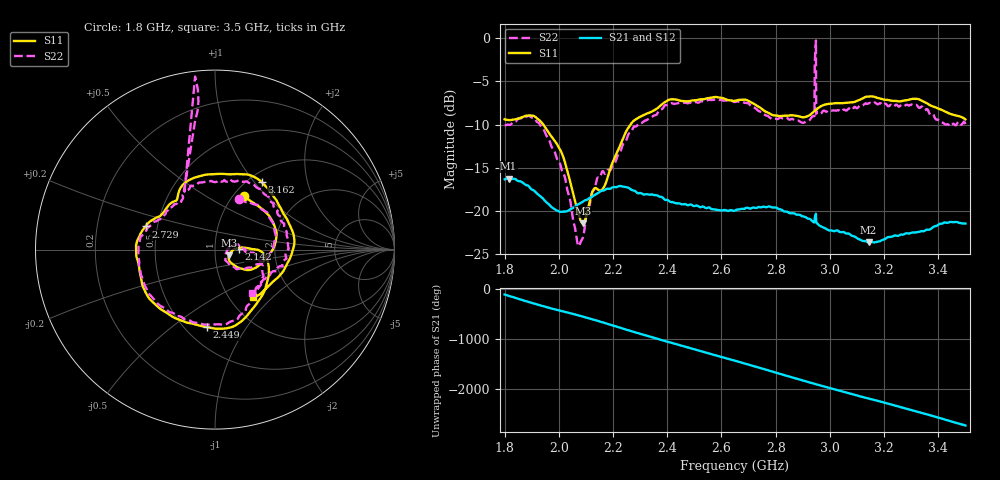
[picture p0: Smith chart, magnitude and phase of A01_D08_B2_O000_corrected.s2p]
! Created with skrf 1.9.0 (http://scikit-rf.org).
# Hz S RI R 50.0
!freq ReS11 ImS11 ReS21 ImS21 ReS12 ImS12 ReS22 ImS22
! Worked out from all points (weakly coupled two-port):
!   1601 points, 1.8 GHz to 3.5 GHz, reference 50 ohm
!   highest |S21| = -16.26 dB at 1.815 GHz (marker M1); lowest = -23.7 dB at 3.143 GHz (marker M2)
!   lowest |S11| = -21.5 dB at 2.089 GHz (marker M3), VSWR 1.18, Z = 58.4 - j3.68 ohm
!   |S11| at or under -10 dB: 1.942 GHz to 2.264 GHz (322 MHz wide, 15.3 % of centre)
!   |S22| runs from -24.1 to -0.3 dB; largest |S21 - S12| = 0.0031
!   S11 on the Smith chart (normalised r, x): 1.8 GHz: 1.12, +0.75; 2.142 GHz: 1.31, +0.01; 2.449 GHz: 0.63, -0.67; 2.729 GHz: 0.43, +0.13; 3.162 GHz: 1.14, +1.09; 3.5 GHz: 1.27, -0.76
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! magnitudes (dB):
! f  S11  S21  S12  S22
! 1.8 GHz  -9.4  -16.4  -16.4  -10.1
! 1.815 GHz  -9.5  -16.3  -16.3  -10.0
! 1.888 GHz  -9.0  -17.1  -17.2  -9.0
! 1.941 GHz  -10.0  -18.6  -18.6  -10.5
! 2.013 GHz  -13.4  -20.1  -20.1  -15.4
! 2.068 GHz  -19.8  -19.3  -19.3  -23.6
! 2.084 GHz  -21.3  -19.0  -19.0  -23.4
! 2.089 GHz  -21.5  -18.9  -19.0  -23.1
! 2.142 GHz  -17.5  -18.0  -18.0  -16.2
! 2.265 GHz  -10.0  -17.5  -17.5  -10.9
! 2.367 GHz  -8.0  -18.3  -18.2  -8.5
! 2.449 GHz  -7.3  -19.2  -19.2  -7.5
! 2.65 GHz  -7.3  -20.0  -19.9  -7.4
! 2.729 GHz  -7.8  -19.7  -19.7  -8.2
! 2.934 GHz  -8.7  -21.1  -21.1  -9.1
! 2.94 GHz  -8.5  -21.3  -21.3  -9.0
! 2.953 GHz  -8.2  -21.5  -21.4  -8.6
! 2.958 GHz  -8.1  -21.6  -21.6  -8.6
! 3.143 GHz  -6.8  -23.7  -23.6  -7.5
! 3.162 GHz  -6.8  -23.7  -23.6  -7.5
! 3.217 GHz  -7.2  -23.0  -23.0  -7.9
! 3.5 GHz  -9.4  -21.5  -21.5  -10.0
